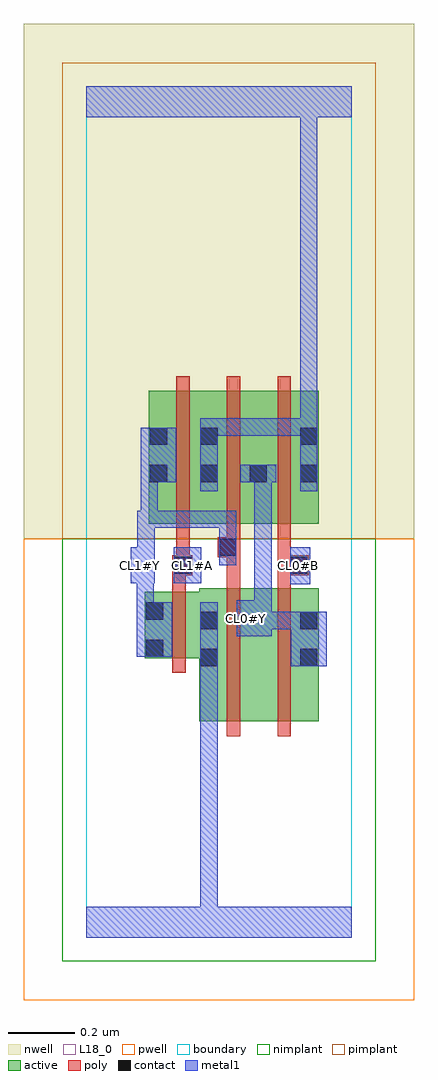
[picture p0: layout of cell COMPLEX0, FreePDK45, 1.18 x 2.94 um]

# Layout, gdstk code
import gdstk
lib = gdstk.Library(unit=1e-6, precision=1e-09)
def R(c, l, rs):  # rectangles x0, y0, x1, y1
    for r in rs: c.add(gdstk.rectangle(r[:2], r[2:], *l))
def A(c, l, x, y, w, h, nx, ny, dx, dy):  # array of equal rectangles
    R(c, l, [(x+i*dx, y+j*dy, x+i*dx+w, y+j*dy+h) for i in range(nx) for j in range(ny)])
active = (1, 0)
pwell = (2, 0)
nwell = (3, 0)
nimplant = (4, 0)
pimplant = (5, 0)
poly = (9, 0)
contact = (10, 0)
metal1 = (11, 0)
L18_0 = (18, 0)
boundary = (235, 0)

complex0 = lib.new_cell('COMPLEX0')
R(complex0, active, [(0.34,0.65,0.52,1.05), (0.34,0.65,0.4,0.984), (0.52,0.65,0.7,1.05), (0.64,0.756,0.7,1.05), (0.176,0.84,0.4,1.04), (0.176,0.84,0.236,1.04), (0.188,1.244,0.248,1.644), (0.188,1.244,0.4,1.644), (0.34,1.244,0.4,1.644), (0.34,1.244,0.548,1.644), (0.488,1.244,0.548,1.644), (0.488,1.244,0.7,1.644), (0.64,1.244,0.7,1.644)])
R(complex0, pwell, [(-0.188,-0.188,0.988,1.2)])
R(complex0, nwell, [(-0.188,1.2,0.988,2.748)])
R(complex0, nimplant, [(-0.072,-0.072,0.872,1.2)])
R(complex0, pimplant, [(-0.072,1.2,0.872,2.632)])
A(complex0, poly, 0.272, 1.2, 0.04, 0.488, 3, 1, 0.152, 0)
R(complex0, poly, [(0.424,0.606,0.464,1.094), (0.576,0.606,0.616,1.094), (0.26,0.796,0.3,1.084), (0.26,1.044,0.3,1.13), (0.424,1.054,0.464,1.184), (0.576,1.054,0.616,1.13), (0.26,1.09,0.32,1.15), (0.576,1.09,0.616,1.13), (0.576,1.09,0.616,1.13), (0.576,1.09,0.67,1.15), (0.272,1.11,0.312,1.24), (0.272,1.11,0.312,1.15), (0.272,1.11,0.312,1.15), (0.576,1.11,0.616,1.24), (0.396,1.144,0.464,1.204), (0.424,1.144,0.464,1.184), (0.424,1.144,0.464,1.184), (0.424,1.164,0.464,1.24)])
R(complex0, contact, [(0.344,0.816,0.396,0.868), (0.644,0.816,0.696,0.868), (0.18,0.844,0.232,0.896), (0.344,0.928,0.396,0.98), (0.644,0.928,0.696,0.98), (0.18,0.956,0.232,1.008), (0.264,1.094,0.316,1.146), (0.614,1.094,0.666,1.146), (0.4,1.148,0.452,1.2), (0.192,1.37,0.244,1.422), (0.344,1.37,0.396,1.422), (0.492,1.37,0.544,1.422), (0.644,1.37,0.696,1.422), (0.192,1.482,0.244,1.534), (0.344,1.482,0.396,1.534), (0.644,1.482,0.696,1.534)])
R(complex0, metal1, [(0,0,0.8,0.092), (0.344,0.04,0.396,0.092), (0.344,0.04,0.396,0.092), (0.344,0.04,0.396,0.092), (0.344,0.04,0.396,0.092), (0.344,0.04,0.396,0.092), (0.344,0.04,0.396,0.092), (0.344,0.04,0.396,0.092), (0.344,0.04,0.396,0.092), (0.344,0.04,0.396,0.092), (0.344,0.04,0.396,0.092), (0.344,0.04,0.396,0.092), (0.344,0.04,0.396,0.092), (0.344,0.04,0.396,0.84), (0.344,0.788,0.396,1.008), (0.616,0.816,0.724,0.98), (0.152,0.844,0.26,1.008), (0.454,0.906,0.558,1.014), (0.506,0.928,0.668,0.98), (0.616,0.928,0.668,0.98), (0.616,0.928,0.668,0.98), (0.616,0.928,0.668,0.98), (0.616,0.928,0.668,0.98), (0.152,0.956,0.204,1.118), (0.506,0.962,0.558,1.422), (0.614,1.062,0.674,1.174), (0.134,1.066,0.206,1.174), (0.264,1.066,0.346,1.174), (0.4,1.12,0.452,1.284), (0.154,1.122,0.206,1.284), (0.154,1.232,0.216,1.284), (0.164,1.232,0.216,1.284), (0.164,1.232,0.216,1.284), (0.164,1.232,0.326,1.284), (0.164,1.232,0.216,1.422), (0.274,1.232,0.326,1.284), (0.274,1.232,0.452,1.284), (0.344,1.342,0.396,1.562), (0.644,1.342,0.696,1.562), (0.164,1.37,0.272,1.534), (0.464,1.37,0.572,1.422), (0.506,1.37,0.558,1.422), (0.506,1.37,0.558,1.422), (0.344,1.51,0.396,1.562), (0.344,1.51,0.396,1.562), (0.344,1.51,0.558,1.562), (0.506,1.51,0.558,1.562), (0.506,1.51,0.696,1.562), (0.644,1.51,0.696,1.562), (0.644,1.51,0.696,1.562), (0.644,1.51,0.696,1.562), (0.644,1.51,0.696,1.562), (0.644,1.51,0.696,1.562), (0.644,1.51,0.696,1.562), (0.644,1.51,0.696,2.52), (0,2.468,0.8,2.56), (0.644,2.468,0.696,2.52), (0.644,2.468,0.696,2.52), (0.644,2.468,0.696,2.52), (0.644,2.468,0.696,2.52), (0.644,2.468,0.696,2.52), (0.644,2.468,0.696,2.52), (0.644,2.468,0.696,2.52), (0.644,2.468,0.696,2.52), (0.644,2.468,0.696,2.52), (0.644,2.468,0.696,2.52), (0.644,2.468,0.696,2.52), (0.644,2.468,0.696,2.52)])
R(complex0, L18_0, [(0,0,0.8,0.092), (0.344,0.04,0.396,0.092), (0.344,0.04,0.396,0.092), (0.344,0.04,0.396,0.092), (0.344,0.04,0.396,0.092), (0.344,0.04,0.396,0.092), (0.344,0.04,0.396,0.092), (0.344,0.04,0.396,0.092), (0.344,0.04,0.396,0.092), (0.344,0.04,0.396,0.092), (0.344,0.04,0.396,0.092), (0.344,0.04,0.396,0.092), (0.344,0.04,0.396,0.092), (0.344,0.04,0.396,0.84), (0.344,0.788,0.396,1.008), (0.616,0.816,0.724,0.98), (0.152,0.844,0.26,1.008), (0.454,0.906,0.558,1.014), (0.506,0.928,0.668,0.98), (0.616,0.928,0.668,0.98), (0.616,0.928,0.668,0.98), (0.616,0.928,0.668,0.98), (0.616,0.928,0.668,0.98), (0.454,0.934,0.506,0.986), (0.152,0.956,0.204,1.118), (0.506,0.962,0.558,1.422), (0.614,1.062,0.674,1.174), (0.134,1.066,0.206,1.174), (0.264,1.066,0.346,1.174), (0.134,1.094,0.186,1.146), (0.294,1.094,0.346,1.146), (0.614,1.094,0.666,1.146), (0.4,1.12,0.452,1.284), (0.154,1.122,0.206,1.284), (0.154,1.232,0.216,1.284), (0.164,1.232,0.216,1.422), (0.164,1.232,0.216,1.284), (0.164,1.232,0.216,1.284), (0.164,1.232,0.326,1.284), (0.274,1.232,0.326,1.284), (0.274,1.232,0.452,1.284), (0.344,1.342,0.396,1.562), (0.644,1.342,0.696,1.562), (0.164,1.37,0.272,1.534), (0.464,1.37,0.572,1.422), (0.506,1.37,0.558,1.422), (0.506,1.37,0.558,1.422), (0.344,1.51,0.396,1.562), (0.344,1.51,0.396,1.562), (0.344,1.51,0.558,1.562), (0.506,1.51,0.558,1.562), (0.506,1.51,0.696,1.562), (0.644,1.51,0.696,1.562), (0.644,1.51,0.696,1.562), (0.644,1.51,0.696,1.562), (0.644,1.51,0.696,1.562), (0.644,1.51,0.696,1.562), (0.644,1.51,0.696,1.562), (0.644,1.51,0.696,2.52), (0,2.468,0.8,2.56), (0.644,2.468,0.696,2.52), (0.644,2.468,0.696,2.52), (0.644,2.468,0.696,2.52), (0.644,2.468,0.696,2.52), (0.644,2.468,0.696,2.52), (0.644,2.468,0.696,2.52), (0.644,2.468,0.696,2.52), (0.644,2.468,0.696,2.52), (0.644,2.468,0.696,2.52), (0.644,2.468,0.696,2.52), (0.644,2.468,0.696,2.52), (0.644,2.468,0.696,2.52)])
R(complex0, boundary, [(0,0,0.8,2.56)])
complex0.add(gdstk.Label('CL0#B', (0.64,1.12), layer=11, texttype=0))
complex0.add(gdstk.Label('CL0#Y', (0.48,0.96), layer=11, texttype=0))
complex0.add(gdstk.Label('CL1#A', (0.32,1.12), layer=11, texttype=0))
complex0.add(gdstk.Label('CL1#Y', (0.16,1.12), layer=11, texttype=0))

lib.write_gds('COMPLEX0.gds')
